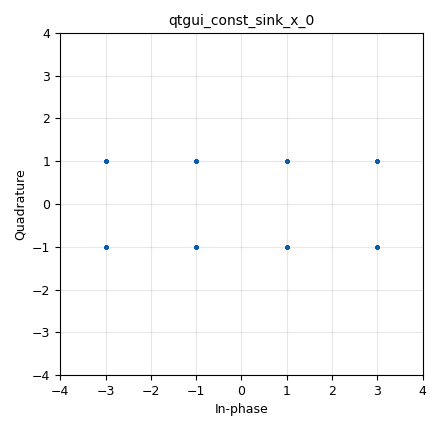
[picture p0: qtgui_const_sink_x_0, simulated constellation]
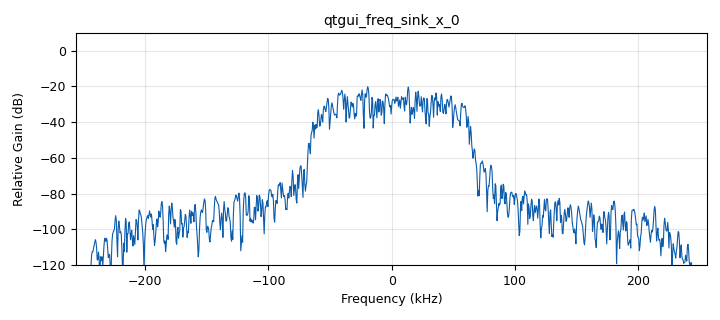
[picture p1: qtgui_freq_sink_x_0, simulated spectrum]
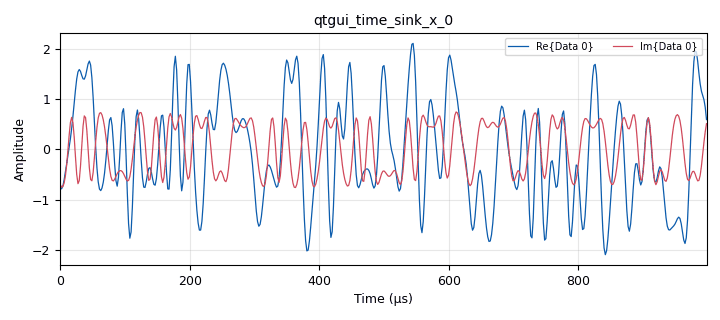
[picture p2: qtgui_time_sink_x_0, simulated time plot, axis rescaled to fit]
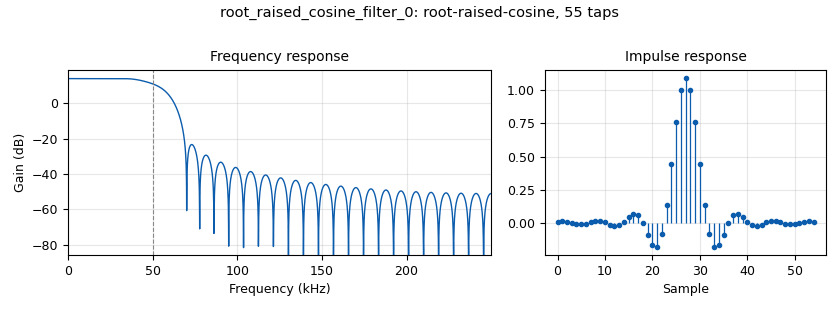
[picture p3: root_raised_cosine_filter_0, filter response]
options:
  parameters:
    author: Manvitha.B
    generate_options: qt_gui
    id: transmitter_1
    output_language: python
    title: 8-QAM transmitter
  states: {}

blocks:
- name: f_c
  id: variable
  parameters:
    value: '850000000'
  states: {}
- name: samp_rate
  id: variable
  parameters:
    value: '512000'
  states: {}
- name: sps
  id: variable
  parameters:
    value: '5'
  states: {}
- name: symbol_rate
  id: variable
  parameters:
    value: '100000'
  states: {}
- name: analog_random_source_x_0
  id: analog_random_source_x
  parameters:
    max: '8'
    min: '0'
    num_samps: '1000'
    repeat: 'True'
    type: byte
  states: {}
- name: blocks_multiply_const_vxx_0
  id: blocks_multiply_const_vxx
  parameters:
    const: '0.5'
    type: complex
  states: {}
- name: blocks_null_sink_0
  id: blocks_null_sink
  parameters:
    type: complex
  states: {}
- name: blocks_throttle2_0
  id: blocks_throttle2
  parameters:
    samples_per_second: samp_rate
    type: complex
  states: {}
- name: digital_chunks_to_symbols_xx_0
  id: digital_chunks_to_symbols_xx
  parameters:
    dimension: '1'
    in_type: byte
    out_type: complex
    symbol_table: '[(-3+1j), (-1+1j), (1+1j), (3+1j), (-3-1j), (-1-1j), (1-1j), (3-1j)]'
  states: {}
- name: iio_pluto_sink_0
  id: iio_pluto_sink
  parameters:
    attenuation1: '20.0'
    bandwidth: '20000000'
    buffer_size: '32768'
    cyclic: 'False'
    filter_source: '''Auto'''
    frequency: '850000000'
    samplerate: samp_rate
    type: fc32
    uri: ip:192.168.2.1
  states: {state: disabled}
- name: qtgui_const_sink_x_0
  id: qtgui_const_sink_x
  parameters:
    size: '1024'
    type: complex
    xmax: '4'
    xmin: '-4'
    ymax: '4'
    ymin: '-4'
  states: {}
- name: qtgui_freq_sink_x_0
  id: qtgui_freq_sink_x
  parameters:
    bw: samp_rate
    fc: '0'
    fftsize: '1024'
    type: complex
    ymin: '-120'
  states: {}
- name: qtgui_time_sink_x_0
  id: qtgui_time_sink_x
  parameters:
    size: '512'
    srate: samp_rate
    type: complex
  states: {}
- name: rational_resampler_xxx_0
  id: rational_resampler_xxx
  parameters:
    decim: '125'
    interp: '128'
    type: ccc
  states: {}
- name: root_raised_cosine_filter_0
  id: root_raised_cosine_filter
  parameters:
    alpha: '0.35'
    gain: '5'
    interp: '5'
    ntaps: 11 * sps
    samp_rate: '500000'
    sym_rate: '100000'
    type: interp_fir_filter_ccf
  states: {}

connections:
- [analog_random_source_x_0, '0', digital_chunks_to_symbols_xx_0, '0']
- [blocks_multiply_const_vxx_0, '0', blocks_throttle2_0, '0']
- [blocks_multiply_const_vxx_0, '0', iio_pluto_sink_0, '0']
- [blocks_throttle2_0, '0', blocks_null_sink_0, '0']
- [blocks_throttle2_0, '0', qtgui_freq_sink_x_0, '0']
- [blocks_throttle2_0, '0', qtgui_time_sink_x_0, '0']
- [digital_chunks_to_symbols_xx_0, '0', qtgui_const_sink_x_0, '0']
- [digital_chunks_to_symbols_xx_0, '0', root_raised_cosine_filter_0, '0']
- [rational_resampler_xxx_0, '0', blocks_multiply_const_vxx_0, '0']
- [root_raised_cosine_filter_0, '0', rational_resampler_xxx_0, '0']

metadata:
  file_format: 1
  grc_version: 3.10.12.0
